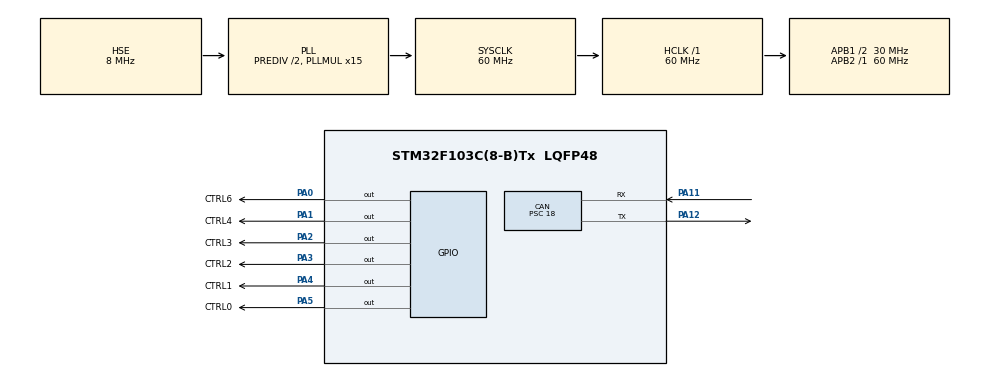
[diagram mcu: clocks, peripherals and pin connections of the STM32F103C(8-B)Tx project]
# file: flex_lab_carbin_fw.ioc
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CAN.ABOM=DISABLE
CAN.BS1=CAN_BS1_5TQ
CAN.BS2=CAN_BS2_5TQ
CAN.CalculateBaudRate=151515
CAN.CalculateTimeBit=6600
CAN.CalculateTimeQuantum=600.0
CAN.NART=ENABLE
CAN.Prescaler=18
Mcu.Family=STM32F1
Mcu.Name=STM32F103C(8-B)Tx
Mcu.Package=LQFP48
NVIC.PriorityGroup=NVIC_PRIORITYGROUP_4
NVIC.TIM1_UP_IRQn=true\:2\:0\:true\:false\:true\:true\:true
NVIC.USB_LP_CAN1_RX0_IRQn=true\:1\:0\:true\:false\:true\:true\:true
PA0-WKUP.GPIO_Label=CTRL6
PA0-WKUP.PinState=GPIO_PIN_SET
PA0-WKUP.Signal=GPIO_Output
PA1.GPIO_Label=CTRL4
PA1.PinState=GPIO_PIN_SET
PA1.Signal=GPIO_Output
PA11.Mode=CAN_Activate
PA11.Signal=CAN_RX
PA12.Mode=CAN_Activate
PA12.Signal=CAN_TX
PA13.Mode=Serial_Wire
PA13.Signal=SYS_JTMS-SWDIO
PA14.Mode=Serial_Wire
PA14.Signal=SYS_JTCK-SWCLK
PA2.GPIO_Label=CTRL3
PA2.PinState=GPIO_PIN_SET
PA2.Signal=GPIO_Output
PA3.GPIO_Label=CTRL2
PA3.PinState=GPIO_PIN_SET
PA3.Signal=GPIO_Output
PA4.GPIO_Label=CTRL1
PA4.PinState=GPIO_PIN_SET
PA4.Signal=GPIO_Output
PA5.GPIO_Label=CTRL0
PA5.PinState=GPIO_PIN_SET
PA5.Signal=GPIO_Output
PC14-OSC32_IN.Mode=LSE-External-Oscillator
PC14-OSC32_IN.Signal=RCC_OSC32_IN
PC15-OSC32_OUT.Mode=LSE-External-Oscillator
PC15-OSC32_OUT.Signal=RCC_OSC32_OUT
PD0-OSC_IN.Mode=HSE-External-Oscillator
PD0-OSC_IN.Signal=RCC_OSC_IN
PD1-OSC_OUT.Mode=HSE-External-Oscillator
PD1-OSC_OUT.Signal=RCC_OSC_OUT
ProjectManager.HeapSize=0x200
ProjectManager.StackSize=0x400
ProjectManager.TargetToolchain=MDK-ARM V5.27
RCC.AHBFreq_Value=60000000
RCC.APB1CLKDivider=RCC_HCLK_DIV2
RCC.APB1Freq_Value=30000000
RCC.APB1TimFreq_Value=60000000
RCC.APB2Freq_Value=60000000
RCC.APB2TimFreq_Value=60000000
RCC.HCLKFreq_Value=60000000
RCC.HSEDivPLL=RCC_HSE_PREDIV_DIV2
RCC.PLLMUL=RCC_PLL_MUL15
RCC.PLLSourceVirtual=RCC_PLLSOURCE_HSE
RCC.RTCClockSelection=RCC_RTCCLKSOURCE_LSE
RCC.SYSCLKFreq_VALUE=60000000
RCC.SYSCLKSource=RCC_SYSCLKSOURCE_PLLCLK
RCC.USBFreq_Value=60000000
RTC.Format=RTC_FORMAT_BIN
TIM1.ClockDivision=TIM_CLOCKDIVISION_DIV1
TIM1.Period=10000
TIM1.Prescaler=6000
TIM4.AutoReloadPreload=TIM_AUTORELOAD_PRELOAD_ENABLE
TIM4.Period=400
TIM4.Prescaler=60
VP_RTC_VS_RTC_Activate.Mode=RTC_Enabled
VP_RTC_VS_RTC_Calendar.Mode=RTC_Calendar
VP_TIM1_VS_ClockSourceINT.Mode=Internal
VP_TIM4_VS_ClockSourceINT.Mode=Internal
board=custom

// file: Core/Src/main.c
/* USER CODE BEGIN Header */
/**
  ******************************************************************************
  * @file           : main.c
  * @brief          : Main program body
  ******************************************************************************
  * @attention
  *
  * <h2><center>&copy; Copyright (c) 2021 STMicroelectronics.
  * All rights reserved.</center></h2>
  *
  * This software component is licensed by ST under BSD 3-Clause license,
  * the "License"; You may not use this file except in compliance with the
  * License. You may obtain a copy of the License at:
  *                        opensource.org/licenses/BSD-3-Clause
  *
  ******************************************************************************
  */
/* USER CODE END Header */
#include "main.h"
#include "can.h"
#include "rtc.h"
#include "tim.h"
#include "gpio.h"

/* USER CODE BEGIN Includes */
#include "layer_define.h"
/* USER CODE END Includes */

/* USER CODE BEGIN PV */
uint8_t CAN_command;
extern uint8_t Rx_Data[8];

uint8_t reflash_flag=0;

union	layer_settings
{
	Layer_SettingTypeDef member;
	uint8_t buf[27];
}layer_settings;

union	layer_status
{
	Layer_StatusTypeDef member;
	uint8_t buf[4];
}layer_status;

RTC_TimeTypeDef sTime;
RTC_DateTypeDef sDate;

uint8_t minute_mark=0, hour_mark=0;
int32_t vent_lim=-1;
int32_t cyc_lim=-1;
uint8_t water_change_state=0;
/* USER CODE END PV */

void SystemClock_Config(void);

/* USER CODE BEGIN 0 */
uint8_t relay_state[]={1,1,1,1,1,1};
void set_relay(uint8_t num,uint8_t state)
{

}
/* USER CODE END 0 */

int main(void)
{
  /* USER CODE BEGIN 1 */
	uint8_t t=0;
  /* USER CODE END 1 */

  /* MCU Configuration--------------------------------------------------------*/

  /* Reset of all peripherals, Initializes the Flash interface and the Systick. */
  HAL_Init();

  /* Configure the system clock */
  SystemClock_Config();

  /* Initialize all configured peripherals */
  MX_GPIO_Init();
  MX_RTC_Init();
  MX_CAN_Init();
  MX_TIM1_Init();
  MX_TIM4_Init();
  /* USER CODE BEGIN 2 */
	HAL_TIM_Base_Start_IT(&htim1);

	HAL_RTC_GetTime(&hrtc, &sTime, RTC_FORMAT_BIN);
  /* USER CODE END 2 */

  /* Infinite loop */
  /* USER CODE BEGIN WHILE */
  while (1)
  {
/*------------------------------------------------------------------*/
		if(CAN_command==0x00)
		{
			uint8_t canbuf[8]={0x80,0x00,0x00,0x00,0x00,0x00,0x00,0x00};

			switch(Rx_Data[1])
			{
				case 1:
					Can_TxMessage(0,0x102,8,canbuf);
					HAL_Delay(10);
					Can_TxMessage(0,0x103,8,canbuf);
				break;

				case 2:
					Can_TxMessage(0,0x101,8,canbuf);
					HAL_Delay(10);
					Can_TxMessage(0,0x103,8,canbuf);
				break;

				case 3:
					Can_TxMessage(0,0x101,8,canbuf);
					HAL_Delay(10);
					Can_TxMessage(0,0x102,8,canbuf);

				break;
			}
			CAN_command=0x00;
		}
		else if(CAN_command==0x01)
		{
			uint8_t canbuf[8]={0x81,0x00,0x00,0x00,0x00,0x00,0x00,0x00};

			switch(Rx_Data[1])
			{
				case 1:
					Can_TxMessage(0,0x102,8,canbuf);
					HAL_Delay(10);
					Can_TxMessage(0,0x103,8,canbuf);
				break;

				case 2:
					Can_TxMessage(0,0x101,8,canbuf);
					HAL_Delay(10);
					Can_TxMessage(0,0x103,8,canbuf);
				break;

				case 3:
					Can_TxMessage(0,0x101,8,canbuf);
					HAL_Delay(10);
					Can_TxMessage(0,0x102,8,canbuf);

				break;
			}
			CAN_command=0x00;
		}
		else if(CAN_command==0x02)
		{
			uint8_t canbuf[8]={0x82,0x0A,0x0F,0x00,0x00,0x00,0x00,0x00};
			uint8_t w_level=0,nus1_level=0,nus2_level=0,nus3_level=0;//debug
			canbuf[1]=25;//temp
			canbuf[2]&=0xF7;canbuf[2]|=w_level<<3;
			canbuf[2]&=0xFB;canbuf[2]|=nus1_level<<2;
			canbuf[2]&=0xFD;canbuf[2]|=nus2_level<<1;
			canbuf[2]&=0xFE;canbuf[2]|=nus3_level<<0;

			Can_TxMessage(0,0x101,8,canbuf);
			HAL_Delay(10);
			Can_TxMessage(0,0x102,8,canbuf);
			HAL_Delay(10);
			Can_TxMessage(0,0x103,8,canbuf);
			HAL_Delay(10);

			Can_TxMessage(0,0x00F,8,canbuf);

			CAN_command=0x00;
		}

/*------------------------------------------------------------------*/
		if(hour_mark==1)
		{

			hour_mark=0;
		}

		if(minute_mark==1)
		{

			minute_mark=0;
		}
/*------------------------------------------------------------------*/
		if(t%50==0)
		{

		}

		t++;
		HAL_Delay(10);

/*------------------------------------------------------------------*/
    /* USER CODE END WHILE */

  }
}

void SystemClock_Config(void)
{
  RCC_OscInitTypeDef RCC_OscInitStruct = {0};
  RCC_ClkInitTypeDef RCC_ClkInitStruct = {0};
  RCC_PeriphCLKInitTypeDef PeriphClkInit = {0};

  /** Initializes the RCC Oscillators according to the specified parameters
  * in the RCC_OscInitTypeDef structure.
  */
  RCC_OscInitStruct.OscillatorType = RCC_OSCILLATORTYPE_HSE|RCC_OSCILLATORTYPE_LSE;
  RCC_OscInitStruct.HSEState = RCC_HSE_ON;
  RCC_OscInitStruct.HSEPredivValue = RCC_HSE_PREDIV_DIV2;
  RCC_OscInitStruct.LSEState = RCC_LSE_ON;
  RCC_OscInitStruct.HSIState = RCC_HSI_ON;
  RCC_OscInitStruct.PLL.PLLState = RCC_PLL_ON;
  RCC_OscInitStruct.PLL.PLLSource = RCC_PLLSOURCE_HSE;
  RCC_OscInitStruct.PLL.PLLMUL = RCC_PLL_MUL15;
  if (HAL_RCC_OscConfig(&RCC_OscInitStruct) != HAL_OK)
  {
    Error_Handler();
  }
  /** Initializes the CPU, AHB and APB buses clocks
  */
  RCC_ClkInitStruct.ClockType = RCC_CLOCKTYPE_HCLK|RCC_CLOCKTYPE_SYSCLK
                              |RCC_CLOCKTYPE_PCLK1|RCC_CLOCKTYPE_PCLK2;
  RCC_ClkInitStruct.SYSCLKSource = RCC_SYSCLKSOURCE_PLLCLK;
  RCC_ClkInitStruct.AHBCLKDivider = RCC_SYSCLK_DIV1;
  RCC_ClkInitStruct.APB1CLKDivider = RCC_HCLK_DIV2;
  RCC_ClkInitStruct.APB2CLKDivider = RCC_HCLK_DIV1;

  if (HAL_RCC_ClockConfig(&RCC_ClkInitStruct, FLASH_LATENCY_2) != HAL_OK)
  {
    Error_Handler();
  }
  PeriphClkInit.PeriphClockSelection = RCC_PERIPHCLK_RTC;
  PeriphClkInit.RTCClockSelection = RCC_RTCCLKSOURCE_LSE;
  if (HAL_RCCEx_PeriphCLKConfig(&PeriphClkInit) != HAL_OK)
  {
    Error_Handler();
  }
}

/* USER CODE BEGIN 4 */

void HAL_TIM_PeriodElapsedCallback(TIM_HandleTypeDef *htim)
{
	static uint64_t Tim1_cnt;
	Tim1_cnt++;

	if(Tim1_cnt%60==0)
	{
		minute_mark=1;
	}

	if(Tim1_cnt==3600)
	{
		hour_mark=1;
		Tim1_cnt=0;
	}
}

/* USER CODE END 4 */

void Error_Handler(void)
{
  __disable_irq();
  while (1)
  {
  }
}
